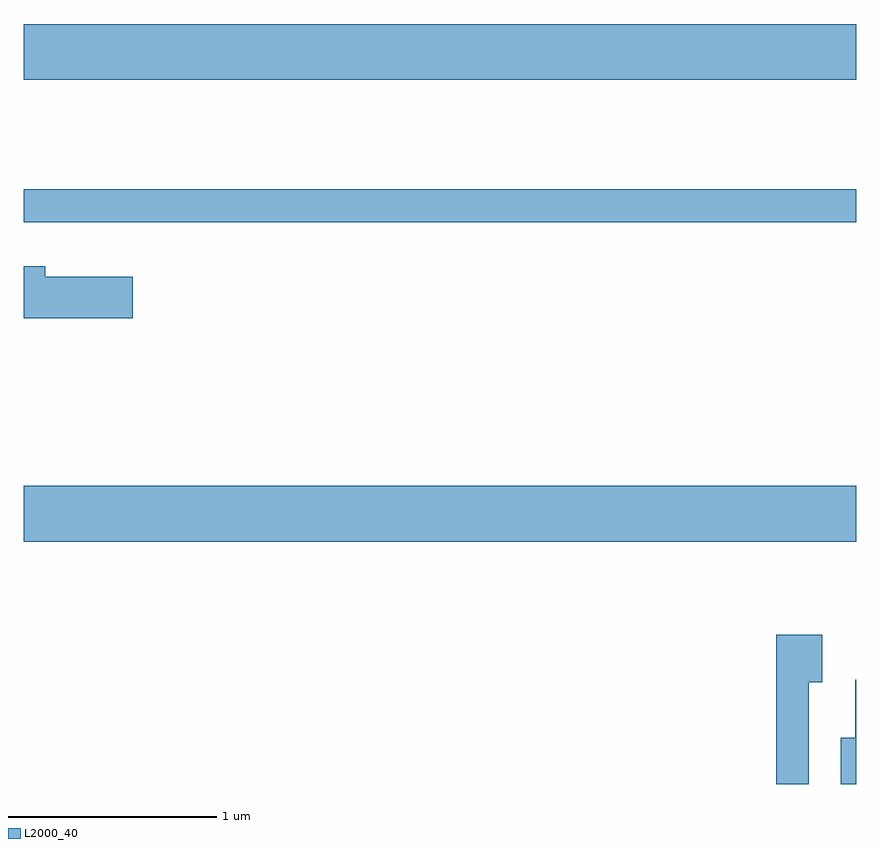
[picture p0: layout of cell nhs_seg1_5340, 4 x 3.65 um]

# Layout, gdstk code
import gdstk
lib = gdstk.Library(unit=1e-6, precision=1e-09)
def R(c, l, rs):  # rectangles x0, y0, x1, y1
    for r in rs: c.add(gdstk.rectangle(r[:2], r[2:], *l))
def P(c, l, *ps):  # polygons
    for p in ps: c.add(gdstk.Polygon(p, *l))
L2000_40 = (2000, 40)

nhs_seg1_5340 = lib.new_cell('nhs_seg1_5340')
R(nhs_seg1_5340, L2000_40, [(345.611,932.876,349.611,933.144), (345.611,934.411,349.611,934.569), (345.611,935.096,349.611,935.364)])
P(nhs_seg1_5340, L2000_40, [(346.134,934.149),(345.714,934.149),(345.714,934.199),(345.611,934.199),(345.611,933.951),(346.134,933.951)],
  [(349.384,932.201),(349.449,932.201),(349.449,932.429),(349.226,932.429),(349.226,931.712),(349.384,931.712)],
  [(349.611,932.214),(349.606,932.214),(349.606,931.934),(349.536,931.934),(349.536,931.712),(349.611,931.712)])

lib.write_gds('nhs_seg1_5340.gds')
